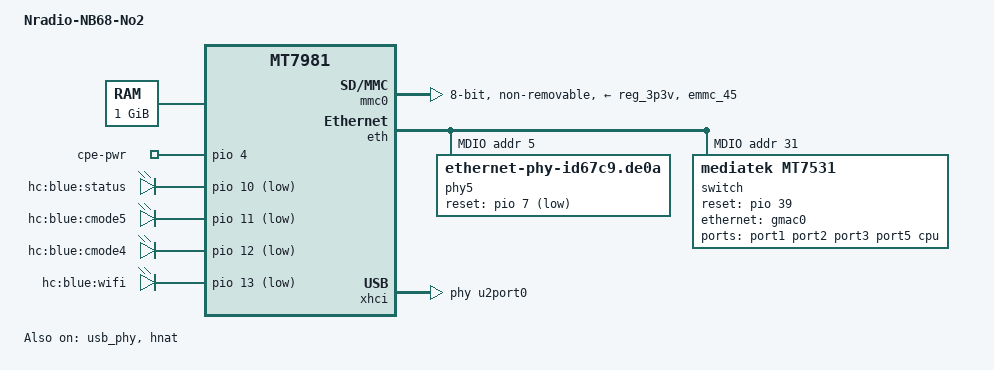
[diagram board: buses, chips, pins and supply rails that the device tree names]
// SPDX-License-Identifier: GPL-2.0-or-later OR MIT
/dts-v1/;

#include <dt-bindings/input/input.h>
#include "mt7981-nradio-common.dtsi"

/ {
	model = "Nradio-NB68-No2";
	compatible = "HCMT7981-emmc-NB68", "mediatek,mt7981-emmc-rfb";

	aliases {
		serial0 = &uart0;
		led-boot = &led_status;
		led-failsafe = &led_status;
		led-running = &led_status;
		led-upgrade = &led_status;
	};

	chosen {
		stdout-path = "serial0:115200n8";
		bootargs = "console=ttyS0,115200n1 loglevel=8 earlycon=uart8250,mmio32,0x11002000 root=PARTLABEL=rootfs_2nd rootwait rootfstype=squashfs,f2fs";
	};

	memory {
		reg = <0 0x40000000 0 0x40000000>;
	};

	/* GPIO values and polarities follow the NBCPE stock device tree. */
	gpio_export {
		compatible = "gpio-export";
		#size-cells = <0>;

		cpepower {
			gpio-export,name = "cpe-pwr";
			gpio-export,output = <1>;
			gpios = <&pio 4 GPIO_ACTIVE_HIGH>;
		};
	};

	gpio-leds {
		compatible = "gpio-leds";

		led_status: status {
			label = "hc:blue:status";
			gpios = <&pio 10 GPIO_ACTIVE_LOW>;
		};

		cmode5 {
			label = "hc:blue:cmode5";
			gpios = <&pio 11 GPIO_ACTIVE_LOW>;
		};

		cmode4 {
			label = "hc:blue:cmode4";
			gpios = <&pio 12 GPIO_ACTIVE_LOW>;
		};

		wifi {
			label = "hc:blue:wifi";
			gpios = <&pio 13 GPIO_ACTIVE_LOW>;
		};
	};
};

&mmc0 {
	pinctrl-names = "default", "state_uhs";
	pinctrl-0 = <&mmc0_pins_default>;
	pinctrl-1 = <&mmc0_pins_uhs>;
	bus-width = <8>;
	max-frequency = <52000000>;
	cap-mmc-highspeed;
	vmmc-supply = <&reg_3p3v>;
	non-removable;
	status = "okay";
};

&pio {
	mmc0_pins_default: mmc0-pins-default {
		mux {
			function = "flash";
			groups = "emmc_45";
		};
	};

	mmc0_pins_uhs: mmc0-pins-uhs {
		mux {
			function = "flash";
			groups = "emmc_45";
		};
	};
};

&eth {
	status = "okay";

	gmac0: mac@0 {
		compatible = "mediatek,eth-mac";
		reg = <0>;
		phy-mode = "2500base-x";

		fixed-link {
			speed = <2500>;
			full-duplex;
			pause;
		};
	};

	mdio: mdio-bus {
		#address-cells = <1>;
		#size-cells = <0>;

		phy5: ethernet-phy@5 {
			compatible = "ethernet-phy-id67c9.de0a";
			reg = <5>;
			reset-gpios = <&pio 7 GPIO_ACTIVE_LOW>;
			reset-assert-us = <600>;
			reset-deassert-us = <20000>;
			phy-mode = "2500base-x";
		};

		switch@0 {
			compatible = "mediatek,mt7531";
			reg = <31>;
			reset-gpios = <&pio 39 GPIO_ACTIVE_HIGH>;

			ports {
				#address-cells = <1>;
				#size-cells = <0>;

				port@1 {
					reg = <1>;
					label = "port1";
				};

				port@2 {
					reg = <2>;
					label = "port2";
				};

				port@3 {
					reg = <3>;
					label = "port3";
				};

				port@5 {
					reg = <5>;
					label = "port5";
					phy-mode = "2500base-x";
					phy-handle = <&phy5>;
				};

				port@6 {
					reg = <6>;
					label = "cpu";
					ethernet = <&gmac0>;
					phy-mode = "2500base-x";

					fixed-link {
						speed = <2500>;
						full-duplex;
						pause;
					};
				};
			};
		};
	};
};

/* The NBCPE routes LAN through MT7531 rather than the SoC's internal PHY. */
&int_gbe_phy {
	status = "disabled";
};

/* The original NBCPE enables only the USB2 PHY on the xHCI controller. */
&xhci {
	mediatek,u3p-dis-msk = <0x1>;
	phys = <&u2port0 PHY_TYPE_USB2>;
	status = "okay";
};

&usb_phy {
	status = "okay";
};

&hnat {
	mtketh-wan = "eth0";
	mtketh-lan = "lan";
	mtketh-max-gmac = <2>;
	mtkdsa-wan-port = <5>;
	status = "okay";
};
